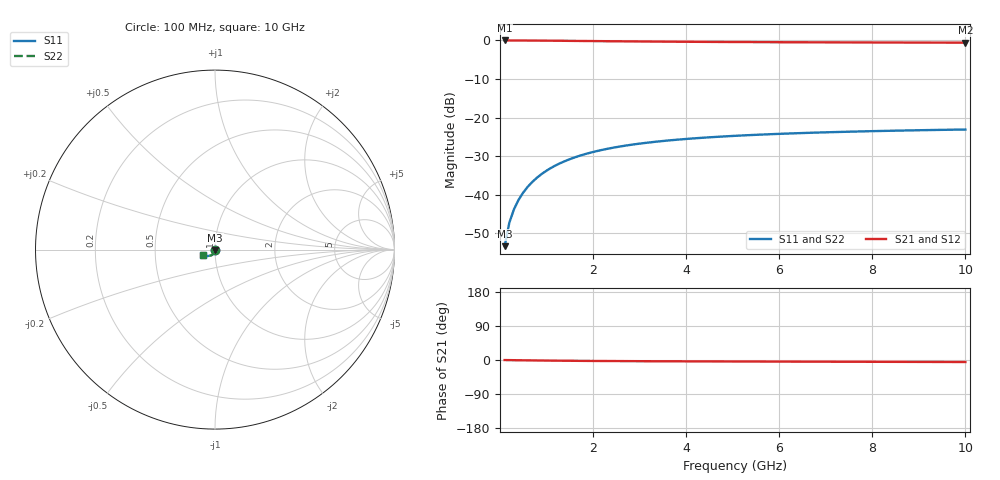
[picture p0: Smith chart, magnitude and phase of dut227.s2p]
! Touchstone file exported from HFSS 2024.1.0
!  File:  C:/UserFiles/LocalFiles/RDL_TSV_Batchsim/temp_TSV1_227_1778758684.aedt
!  Generated:  07:43:24 PM May 14, 2026
!  Design:  TSV1
!  Project:  temp_TSV1_227_1778758684
!  Setup:  Setup1
!  Solution:  Sweep
! Variables:
!  dtsv = 16.93um
!  hbump = 3um
!  htsv = 77.18um
!  lrdl = 252.1521522um
!  p = 40
!  p1 = 52.29um
!  t = 500um
!  trdl = 3um
!  wrdl = 24.89489489um
# GHz S MA R 50.000000
! Terminal data exported
! Port[1] = TSV22_T1
! Port[2] = TSV22_T2
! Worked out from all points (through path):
!   100 points, 100 MHz to 10 GHz, reference 50 ohm
!   highest |S21| = 0.00 dB at 100 MHz (marker M1); lowest = -0.6 dB at 10 GHz (marker M2)
!   lowest |S11| = -53.4 dB at 100 MHz (marker M3), VSWR 1.00, Z = 50 - j0.215 ohm
!   |S11| at or under -10 dB: start of sweep to end of sweep
!   |S22| runs from -53.4 to -23.1 dB; largest |S21 - S12| = 1.3e-14
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0.1  0.002148 -89.9  0.9999 -0.2  0.9999 -0.2  0.002148 -89.9
! Gamma 0 0 0 0
! Port Impedance 50 0 50 0
0.2  0.0043 -92.5  0.9996 -0.3  0.9996 -0.3  0.0043 -92.5
0.3  0.006446 -94.6  0.9993 -0.5  0.9993 -0.5  0.006446 -94.6
0.4  0.00857 -96.6  0.9988 -0.6  0.9988 -0.6  0.00857 -96.6
0.5  0.01066 -98.6  0.9982 -0.8  0.9982 -0.8  0.01066 -98.6
0.6  0.01272 -100.4  0.9974 -0.9  0.9974 -0.9  0.01272 -100.4
0.7  0.01473 -102.2  0.9966 -1.1  0.9966 -1.1  0.01473 -102.2
0.8  0.0167 -104.0  0.9957 -1.2  0.9957 -1.2  0.0167 -104.0
0.9  0.01861 -105.7  0.9947 -1.4  0.9947 -1.4  0.01861 -105.7
1.1  0.02226 -109.0  0.9926 -1.6  0.9926 -1.6  0.02226 -109.0
1.4  0.02729 -113.6  0.989 -2.0  0.989 -2.0  0.02729 -113.6
1.6  0.03034 -116.4  0.9865 -2.2  0.9865 -2.2  0.03034 -116.4
1.8  0.03316 -119.0  0.984 -2.3  0.984 -2.3  0.03316 -119.0
2.1  0.03696 -122.5  0.9803 -2.6  0.9803 -2.6  0.03696 -122.5
2.5  0.04134 -126.7  0.9756 -2.8  0.9756 -2.8  0.04134 -126.7
2.9  0.04505 -130.3  0.9712 -3.1  0.9712 -3.1  0.04505 -130.3
3.4  0.04894 -134.1  0.9664 -3.3  0.9664 -3.3  0.04894 -134.1
4.2  0.05389 -139.0  0.9598 -3.6  0.9598 -3.6  0.05389 -139.0
5.1  0.05815 -143.3  0.9539 -3.9  0.9539 -3.9  0.05815 -143.3
6.7  0.06355 -149.0  0.9461 -4.4  0.9461 -4.4  0.06355 -149.0
8.4  0.06742 -153.3  0.9404 -4.9  0.9404 -4.9  0.06742 -153.3
10  0.06999 -156.4  0.9365 -5.3  0.9365 -5.3  0.06999 -156.4
